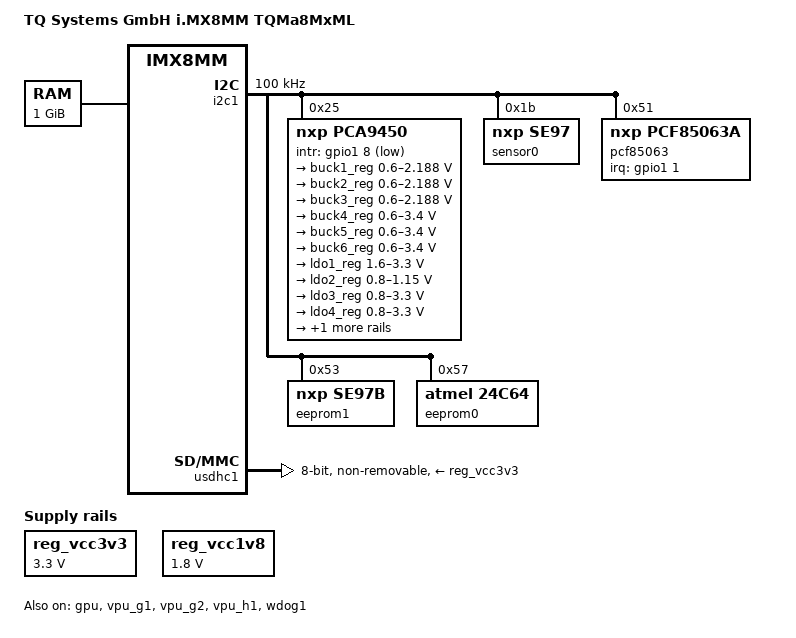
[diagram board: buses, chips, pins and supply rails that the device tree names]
// SPDX-License-Identifier: (GPL-2.0-or-later OR MIT)
/*
 * Copyright 2020-2021 TQ-Systems GmbH
 */

/ {
	model = "TQ Systems GmbH i.MX8MM TQMa8MxML";
	compatible = "tq,imx8mm-tqma8mxml", "fsl,imx8mm";

	chosen {
	};

	memory@40000000 {
		device_type = "memory";
		/*  our minimum RAM config will be 1024 MiB */
		reg = <0x00000000 0x40000000 0 0x40000000>;
	};

	/* identical to buck4_reg, but should never change */
	reg_vcc3v3: regulator-vcc3v3 {
		compatible = "regulator-fixed";
		regulator-name = "TQMA8MXML_VCC3V3";
		regulator-min-microvolt = <3300000>;
		regulator-max-microvolt = <3300000>;
		regulator-always-on;
	};

	/* e-MMC IO, needed for HS modes */
	reg_vcc1v8: regulator-vcc1v8 {
		compatible = "regulator-fixed";
		regulator-name = "TQMA8MXML_VCC1V8";
		regulator-min-microvolt = <1800000>;
		regulator-max-microvolt = <1800000>;
		regulator-always-on;
	};

	reserved-memory {
		#address-cells = <2>;
		#size-cells = <2>;
		ranges;

		/* global autoconfigured region for contiguous allocations */
		linux,cma {
			compatible = "shared-dma-pool";
			reusable;
			/* 256 MiB */
			size = <0 0x10000000>;
			/*  512 - 128 MiB, our minimum RAM config will be 512 MiB */
			alloc-ranges = <0 0x40000000 0 0x38000000>;
			linux,cma-default;
		};
	};
};

&A53_0 {
	cpu-supply = <&buck2_reg>;
};

&A53_1 {
	cpu-supply = <&buck2_reg>;
};

&A53_2 {
	cpu-supply = <&buck2_reg>;
};

&A53_3 {
	cpu-supply = <&buck2_reg>;
};

&gpu {
	status = "okay";
};

&iomuxc {
	pinctrl_i2c1: i2c1grp {
		fsl,pins = <
			MX8MM_IOMUXC_I2C1_SCL_I2C1_SCL		0x40000004
			MX8MM_IOMUXC_I2C1_SDA_I2C1_SDA		0x40000004
		>;
	};

	pinctrl_pmic: pmicgrp {
		fsl,pins = <
			MX8MM_IOMUXC_GPIO1_IO08_GPIO1_IO8	0x94
		>;
	};

	pinctrl_rtc: rtcgrp {
		fsl,pins = <
			MX8MM_IOMUXC_GPIO1_IO01_GPIO1_IO1	0x94
		>;
	};

	pinctrl_usdhc1: usdhc1grp {
		fsl,pins = <
			MX8MM_IOMUXC_SD1_CLK_USDHC1_CLK		0x1d4
			MX8MM_IOMUXC_SD1_CMD_USDHC1_CMD		0x1d4
			MX8MM_IOMUXC_SD1_DATA0_USDHC1_DATA0	0x1d4
			MX8MM_IOMUXC_SD1_DATA1_USDHC1_DATA1	0x1d4
			MX8MM_IOMUXC_SD1_DATA2_USDHC1_DATA2	0x1d4
			MX8MM_IOMUXC_SD1_DATA3_USDHC1_DATA3	0x1d4
			MX8MM_IOMUXC_SD1_DATA4_USDHC1_DATA4	0x1d4
			MX8MM_IOMUXC_SD1_DATA5_USDHC1_DATA5	0x1d4
			MX8MM_IOMUXC_SD1_DATA6_USDHC1_DATA6	0x1d4
			MX8MM_IOMUXC_SD1_DATA7_USDHC1_DATA7	0x1d4
			MX8MM_IOMUXC_SD1_STROBE_USDHC1_STROBE	0x1d4
			MX8MM_IOMUXC_SD1_RESET_B_USDHC1_RESET_B	0x1d4
		>;
	};

	pinctrl_usdhc1_100mhz: usdhc1grp100mhz {
		fsl,pins = <
			MX8MM_IOMUXC_SD1_CLK_USDHC1_CLK		0x1d2
			MX8MM_IOMUXC_SD1_CMD_USDHC1_CMD		0x1d2
			MX8MM_IOMUXC_SD1_DATA0_USDHC1_DATA0	0x1d2
			MX8MM_IOMUXC_SD1_DATA1_USDHC1_DATA1	0x1d2
			MX8MM_IOMUXC_SD1_DATA2_USDHC1_DATA2	0x1d2
			MX8MM_IOMUXC_SD1_DATA3_USDHC1_DATA3	0x1d2
			MX8MM_IOMUXC_SD1_DATA4_USDHC1_DATA4	0x1d2
			MX8MM_IOMUXC_SD1_DATA5_USDHC1_DATA5	0x1d2
			MX8MM_IOMUXC_SD1_DATA6_USDHC1_DATA6	0x1d2
			MX8MM_IOMUXC_SD1_DATA7_USDHC1_DATA7	0x1d2
			MX8MM_IOMUXC_SD1_STROBE_USDHC1_STROBE	0x84
			MX8MM_IOMUXC_SD1_RESET_B_USDHC1_RESET_B	0x84
		>;
	};

	pinctrl_usdhc1_200mhz: usdhc1grp200mhz {
		fsl,pins = <
			MX8MM_IOMUXC_SD1_CLK_USDHC1_CLK		0x1d6
			MX8MM_IOMUXC_SD1_CMD_USDHC1_CMD		0x1d6
			MX8MM_IOMUXC_SD1_DATA0_USDHC1_DATA0	0x1d6
			MX8MM_IOMUXC_SD1_DATA1_USDHC1_DATA1	0x1d6
			MX8MM_IOMUXC_SD1_DATA2_USDHC1_DATA2	0x1d6
			MX8MM_IOMUXC_SD1_DATA3_USDHC1_DATA3	0x1d6
			MX8MM_IOMUXC_SD1_DATA4_USDHC1_DATA4	0x1d6
			MX8MM_IOMUXC_SD1_DATA5_USDHC1_DATA5	0x1d6
			MX8MM_IOMUXC_SD1_DATA6_USDHC1_DATA6	0x1d6
			MX8MM_IOMUXC_SD1_DATA7_USDHC1_DATA7	0x1d6
			MX8MM_IOMUXC_SD1_STROBE_USDHC1_STROBE	0x84
			MX8MM_IOMUXC_SD1_RESET_B_USDHC1_RESET_B	0x84
		>;
	};

	pinctrl_wdog: wdoggrp {
		fsl,pins = <
			MX8MM_IOMUXC_GPIO1_IO02_WDOG1_WDOG_B	0x84
		>;
	};
};

&i2c1 {
	clock-frequency = <100000>;
	pinctrl-names = "default";
	pinctrl-0 = <&pinctrl_i2c1>;
	status = "okay";

	pca9450: pmic@25 {
		compatible = "nxp,pca9450";
		reg = <0x25>;

		/* PMIC PCA9450 PMIC_nINT GPIO1_IO08 */
		pinctrl-0 = <&pinctrl_pmic>;
		gpio_intr = <&gpio1 8 GPIO_ACTIVE_LOW>;

		regulators {
			#address-cells = <1>;
			#size-cells = <0>;

			pca9450,pmic-buck2-uses-i2c-dvs;
			/* Run/Standby voltage */
			pca9450,pmic-buck2-dvs-voltage = <950000>, <850000>;

			/* V_0V85_SOC */
			buck1_reg: regulator@0 {
				reg = <0>;
				regulator-compatible = "buck1";
				regulator-min-microvolt = <600000>;
				regulator-max-microvolt = <2187500>;
				regulator-boot-on;
				regulator-always-on;
				regulator-ramp-delay = <3125>;
			};

			/* VDD_ARM */
			buck2_reg: regulator@1 {
				reg = <1>;
				regulator-compatible = "buck2";
				regulator-min-microvolt = <600000>;
				regulator-max-microvolt = <2187500>;
				regulator-boot-on;
				regulator-always-on;
				regulator-ramp-delay = <3125>;
			};

			/* V_0V85_GPU */
			buck3_reg: regulator@2 {
				reg = <2>;
				regulator-compatible = "buck3";
				regulator-min-microvolt = <600000>;
				regulator-max-microvolt = <2187500>;
				regulator-boot-on;
				regulator-always-on;
			};

			/* VCC3V3 -> VMMC,  */
			buck4_reg: regulator@3 {
				reg = <3>;
				regulator-compatible = "buck4";
				regulator-min-microvolt = <600000>;
				regulator-max-microvolt = <3400000>;
				regulator-boot-on;
				regulator-always-on;
			};

			/* V_1V8 -> VQMMC, SPI-NOR, ... must not be changed */
			buck5_reg: regulator@4 {
				reg = <4>;
				regulator-compatible = "buck5";
				regulator-min-microvolt = <600000>;
				regulator-max-microvolt = <3400000>;
				regulator-boot-on;
				regulator-always-on;
			};

			/* V_1V1 -> RAM, ... */
			buck6_reg: regulator@5 {
				reg = <5>;
				regulator-compatible = "buck6";
				regulator-min-microvolt = <600000>;
				regulator-max-microvolt = <3400000>;
				regulator-boot-on;
				regulator-always-on;
			};

			/* V_1V8_SNVS */
			ldo1_reg: regulator@6 {
				reg = <6>;
				regulator-compatible = "ldo1";
				regulator-min-microvolt = <1600000>;
				regulator-max-microvolt = <3300000>;
				regulator-boot-on;
				regulator-always-on;
			};

			/* V_0V8_SNVS */
			ldo2_reg: regulator@7 {
				reg = <7>;
				regulator-compatible = "ldo2";
				regulator-min-microvolt = <800000>;
				regulator-max-microvolt = <1150000>;
				regulator-boot-on;
				regulator-always-on;
			};

			/* V_1V8_ANA */
			ldo3_reg: regulator@8 {
				reg = <8>;
				regulator-compatible = "ldo3";
				regulator-min-microvolt = <800000>;
				regulator-max-microvolt = <3300000>;
				regulator-boot-on;
				regulator-always-on;
			};

			/* V_0V9_MIPI */
			ldo4_reg: regulator@9 {
				reg = <9>;
				regulator-compatible = "ldo4";
				regulator-min-microvolt = <800000>;
				regulator-max-microvolt = <3300000>;
				regulator-boot-on;
				regulator-always-on;
			};

			/* VCC SD IO - switched using SD2 VSELECT */
			ldo5_reg: regulator@10 {
				reg = <10>;
				regulator-compatible = "ldo5";
				regulator-min-microvolt = <1800000>;
				regulator-max-microvolt = <3300000>;
			};
		};
	};

	/*
	 * NXP SE97BTP with temperature sensor + eeprom
	 */
	sensor0: temperature-sensor-eeprom@1b {
		compatible = "nxp,se97", "jedec,jc-42.4-temp";
		reg = <0x1b>;
	};

	pcf85063: rtc@51 {
		compatible = "nxp,pcf85063a";
		reg = <0x51>;
		pinctrl-names = "default";
		pinctrl-0 = <&pinctrl_rtc>;
		interrupt-names = "irq";
		interrupt-parent = <&gpio1>;
		interrupts = <1 IRQ_TYPE_EDGE_FALLING>;
		quartz-load-femtofarads = <7000>;
	};

	eeprom1: eeprom@53 {
		compatible = "nxp,se97b", "atmel,24c02";
		reg = <0x53>;
		pagesize = <16>;
	};

	eeprom0: eeprom@57 {
		compatible = "atmel,24c64";
		reg = <0x57>;
		pagesize = <32>;
	};
};

/* disable until we fix it */
&pcie0 {
	/delete-property/ reserved-region;
};

&rpmsg{
	status = "disabled";
};

&usdhc1 {
	pinctrl-names = "default", "state_100mhz", "state_200mhz";
	pinctrl-0 = <&pinctrl_usdhc1>;
	pinctrl-1 = <&pinctrl_usdhc1_100mhz>;
	pinctrl-2 = <&pinctrl_usdhc1_200mhz>;
	bus-width = <8>;
	non-removable;
	no-sd;
	no-sdio;
	vmmc-supply = <&reg_vcc3v3>;
	vqmmc-supply = <&reg_vcc1v8>;

	status = "okay";
};

&vpu_g1 {
	status = "okay";
};

&vpu_g2 {
	status = "okay";
};

&vpu_h1 {
	status = "okay";
};

/*
 * Attention:
 * wdog reset is routed to PMIC, PMIC must be preconfigured to force POR
 * without LDO for SNVS. GPIO1_IO02 must not be used as GPIO.
 */
&wdog1 {
	pinctrl-names = "default";
	pinctrl-0 = <&pinctrl_wdog>;
	fsl,ext-reset-output;
	status = "okay";
};
